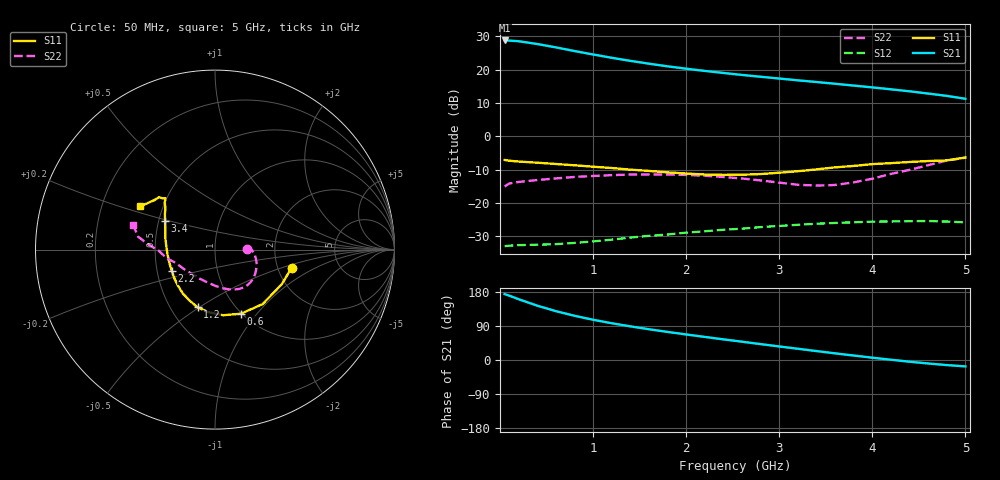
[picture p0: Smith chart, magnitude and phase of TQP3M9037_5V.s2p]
! Project 16: GNSS L1 + L2/L5 active antenna front end (RFMW-ANT)
! Generated by Scripts/simulate.py from Scripts/ds_data.py; format GHz / RI, Z0 = 50 ohm
! EXTRACTED (not estimated): Qorvo TQP3M9037 data sheet, 25 Jul 2017 p.3, VDD=+5 V, IDD=70 mA, 25 C
! Calibrated to the device leads: no DC blocks, no bias choke (add them in the circuit).
! Noise block: measured table p.3 (1.5-2.7 GHz). Below 1.5 GHz see Extracted_Data/assumptions_log.md
# GHz S RI R 50.0
!freq ReS11 ImS11 ReS21 ImS21 ReS12 ImS12 ReS22 ImS22
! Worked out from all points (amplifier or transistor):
!   27 points, 50 MHz to 5 GHz, reference 50 ohm
!   highest |S21| = 28.7 dB at 50 MHz (marker M1)
!   |S21| within 3 dB of that: start of sweep to 769.1 MHz
!   unconditionally stable (mu >= 1): start of sweep to end of sweep
!   at 600 MHz: K = 1.10, MAG = 27.6 dB, |S12| = -32.3 dB
!   at 2.4 GHz: K = 1.37, MAG = 19.8 dB, |S12| = -28.0 dB
!   at 5 GHz: K = 1.46, MAG = 14.5 dB, |S12| = -25.8 dB
!   lowest NFmin = 0.29 dB at 1.7 GHz
!   S11 on the Smith chart (normalised r, x): 50 MHz: 2.40, -0.61; 600 MHz: 0.99, -0.83; 1.2 GHz: 0.68, -0.49; 2.2 GHz: 0.60, -0.15; 3.4 GHz: 0.54, +0.19; 5 GHz: 0.37, +0.23
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0.05  0.4306 -0.1024  -27.2 2.897  0.0224 0.00337  0.1772 0.000619
0.1  0.4134 -0.1238  -26.8 4.826  0.0229 0.00199  0.1966 0.00755
0.2  0.3727 -0.192  -25.11 8.905  0.0233 0.00232  0.2072 -0.00452
0.4  0.2655 -0.3034  -19.45 14.42  0.0235 0.00364  0.2202 -0.0244
0.6  0.1453 -0.3571  -13.55 16.76  0.0237 0.00494  0.2282 -0.0526
0.8  0.046 -0.3657  -8.538 16.96  0.0245 0.00647  0.2325 -0.0814
1  -0.0367 -0.3488  -4.711 16.19  0.0255 0.00777  0.2295 -0.1112
1.2  -0.0973 -0.3213  -1.847 14.93  0.027 0.00867  0.2231 -0.1381
1.4  -0.1421 -0.2837  0.2858 13.53  0.0286 0.0102  0.2132 -0.1618
1.6  -0.1785 -0.2453  1.88 12.13  0.0304 0.0109  0.1973 -0.1827
1.8  -0.2046 -0.2042  3.065 10.78  0.0319 0.0113  0.181 -0.198
2  -0.2258 -0.161  3.966 9.536  0.0341 0.0118  0.1584 -0.2115
2.2  -0.2409 -0.118  4.647 8.356  0.0357 0.0123  0.1353 -0.2189
2.4  -0.2543 -0.074  5.177 7.255  0.038 0.0121  0.1052 -0.2227
2.6  -0.2647 -0.0267  5.542 6.215  0.0397 0.0116  0.0757 -0.221
2.8  -0.2715 0.0207  5.814 5.224  0.0422 0.0112  0.0401 -0.2151
3  -0.2771 0.0671  5.967 4.297  0.0444 0.00973  0.0034 -0.2027
3.4  -0.2783 0.1585  5.98 2.609  0.0485 0.00688  -0.0823 -0.1637
3.8  -0.2762 0.2318  5.646 1.177  0.0515 0.00305  -0.1741 -0.1076
4.2  -0.2755 0.2854  5.069 0.0655  0.0531 -0.00107  -0.2695 -0.0484
4.6  -0.3104 0.2926  4.324 -0.6996  0.0537 -0.00398  -0.3688 0.0271
5  -0.4166 0.2412  3.498 -1.063  0.0511 -0.00571  -0.4574 0.139
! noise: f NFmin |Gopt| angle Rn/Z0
1.5  0.4  0.15  14.1  0.0016
1.7  0.29  0.16  43.7  0.0012
1.8  0.3  0.13  55.1  0.0012
1.9  0.3  0.11  30.2  0.0012
2  0.32  0.11  65.3  0.001
2.1  0.32  0.13  77.6  0.001
2.2  0.35  0.14  89  0.001
2.4  0.43  0.06  85.8  0.001
2.5  0.51  0.02  42.1  0.0012
2.7  0.46  0.07  148.6  0.001
